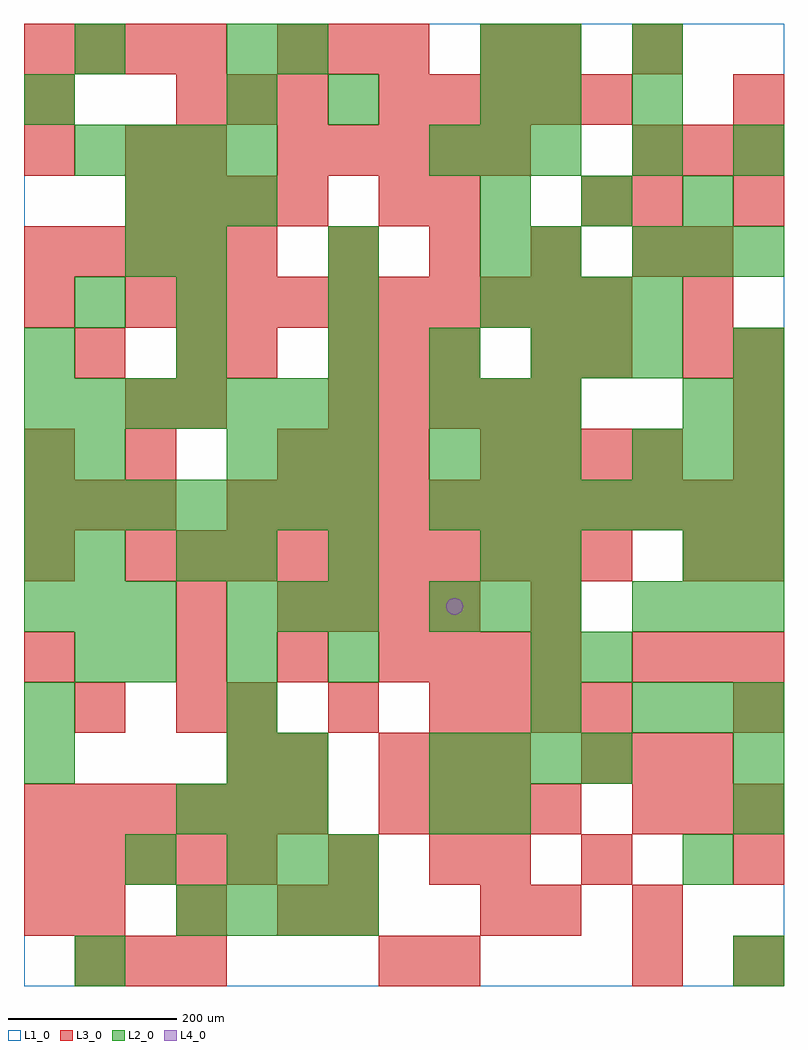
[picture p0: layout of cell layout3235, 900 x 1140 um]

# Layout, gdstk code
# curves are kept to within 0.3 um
import gdstk
lib = gdstk.Library(unit=1e-6, precision=1e-09)
def R(c, l, rs):  # rectangles x0, y0, x1, y1
    for r in rs: c.add(gdstk.rectangle(r[:2], r[2:], *l))
def A(c, l, x, y, w, h, nx, ny, dx, dy):  # array of equal rectangles
    R(c, l, [(x+i*dx, y+j*dy, x+i*dx+w, y+j*dy+h) for i in range(nx) for j in range(ny)])
def P(c, l, *ps):  # polygons
    for p in ps: c.add(gdstk.Polygon(p, *l))
L1_0 = (1, 0)
L2_0 = (2, 0)
L3_0 = (3, 0)
L4_0 = (4, 0)

layout3235 = lib.new_cell('layout3235')
R(layout3235, L1_0, [(0,0,900,1140)])
A(layout3235, L2_0, 180, 60, 60, 60, 4, 1, 60, 0)
A(layout3235, L2_0, 240, 120, 60, 60, 3, 2, 60, 300)
A(layout3235, L2_0, 180, 180, 60, 60, 3, 1, 60, 0)
A(layout3235, L2_0, 480, 240, 60, 60, 4, 1, 60, 0)
A(layout3235, L2_0, 720, 300, 60, 60, 3, 2, 60, 120)
A(layout3235, L2_0, 60, 360, 60, 60, 1, 3, 0, 120)
A(layout3235, L2_0, 120, 360, 60, 60, 3, 1, 120, 0)
A(layout3235, L2_0, 0, 420, 60, 60, 3, 1, 60, 0)
A(layout3235, L2_0, 480, 420, 60, 60, 3, 2, 60, 180)
A(layout3235, L2_0, 0, 540, 60, 60, 7, 2, 60, 120)
A(layout3235, L2_0, 480, 540, 60, 60, 7, 1, 60, 0)
A(layout3235, L2_0, 240, 600, 60, 60, 3, 1, 60, 0)
A(layout3235, L2_0, 720, 600, 60, 60, 3, 2, 60, 240)
A(layout3235, L2_0, 480, 660, 60, 60, 3, 2, 60, 300)
A(layout3235, L2_0, 0, 720, 60, 60, 3, 1, 180, 0)
A(layout3235, L2_0, 600, 720, 60, 60, 3, 2, 60, 60)
A(layout3235, L2_0, 180, 780, 60, 60, 3, 2, 180, 60)
A(layout3235, L2_0, 120, 900, 60, 60, 3, 1, 60, 0)
A(layout3235, L2_0, 540, 900, 60, 60, 3, 1, 120, 0)
A(layout3235, L2_0, 60, 960, 60, 60, 4, 1, 60, 0)
A(layout3235, L2_0, 720, 960, 60, 60, 1, 3, 0, 60)
R(layout3235, L2_0, [(60,0,120,60), (840,0,900,60), (120,120,180,180), (780,120,840,180), (480,180,540,240), (540,180,600,240), (840,180,900,240), (0,240,60,300), (240,240,300,300), (300,240,360,300), (840,240,900,300), (0,300,60,360), (240,300,300,360), (600,300,660,360), (600,360,660,420), (660,360,720,420), (0,480,60,540), (180,480,240,540), (240,480,300,540), (360,480,420,540), (540,480,600,540), (600,480,660,540), (780,480,840,540), (840,480,900,540), (0,600,60,660), (780,660,840,720), (840,660,900,720), (480,720,540,780), (840,720,900,780), (60,780,120,840), (120,840,180,900), (600,840,660,900), (840,960,900,1020), (0,1020,60,1080), (240,1020,300,1080), (360,1020,420,1080), (540,1020,600,1080), (600,1020,660,1080), (60,1080,120,1140), (240,1080,300,1140), (300,1080,360,1140), (540,1080,600,1140), (600,1080,660,1140)])
A(layout3235, L3_0, 60, 0, 60, 60, 3, 1, 60, 0)
A(layout3235, L3_0, 60, 60, 60, 60, 3, 1, 120, 0)
A(layout3235, L3_0, 0, 120, 60, 60, 5, 2, 60, 720)
A(layout3235, L3_0, 840, 120, 60, 60, 1, 3, 0, 180)
A(layout3235, L3_0, 0, 180, 60, 60, 6, 1, 60, 0)
A(layout3235, L3_0, 420, 180, 60, 60, 4, 1, 60, 0)
A(layout3235, L3_0, 720, 180, 60, 60, 3, 2, 60, 180)
A(layout3235, L3_0, 420, 240, 60, 60, 3, 1, 60, 0)
A(layout3235, L3_0, 660, 240, 60, 60, 3, 1, 60, 0)
A(layout3235, L3_0, 240, 300, 60, 60, 3, 1, 120, 0)
A(layout3235, L3_0, 540, 300, 60, 60, 3, 1, 60, 0)
A(layout3235, L3_0, 0, 360, 60, 60, 1, 3, 0, 120)
A(layout3235, L3_0, 180, 360, 60, 60, 3, 1, 120, 0)
A(layout3235, L3_0, 480, 360, 60, 60, 3, 1, 60, 0)
A(layout3235, L3_0, 300, 420, 60, 60, 4, 1, 60, 0)
A(layout3235, L3_0, 120, 480, 60, 60, 10, 2, 60, 300)
A(layout3235, L3_0, 0, 540, 60, 60, 3, 1, 60, 0)
A(layout3235, L3_0, 240, 540, 60, 60, 11, 1, 60, 0)
A(layout3235, L3_0, 300, 600, 60, 60, 3, 2, 60, 480)
A(layout3235, L3_0, 540, 600, 60, 60, 4, 1, 60, 0)
A(layout3235, L3_0, 840, 600, 60, 60, 1, 3, 0, 60)
A(layout3235, L3_0, 360, 660, 60, 60, 5, 1, 60, 0)
A(layout3235, L3_0, 360, 720, 60, 60, 3, 1, 60, 0)
A(layout3235, L3_0, 780, 720, 60, 60, 1, 3, 0, 60)
A(layout3235, L3_0, 360, 840, 60, 60, 4, 1, 120, 0)
A(layout3235, L3_0, 120, 900, 60, 60, 4, 1, 60, 0)
A(layout3235, L3_0, 300, 960, 60, 60, 5, 1, 60, 0)
A(layout3235, L3_0, 720, 960, 60, 60, 3, 1, 60, 0)
A(layout3235, L3_0, 180, 1020, 60, 60, 3, 1, 60, 0)
A(layout3235, L3_0, 420, 1020, 60, 60, 5, 1, 60, 0)
A(layout3235, L3_0, 0, 1080, 60, 60, 4, 1, 60, 0)
R(layout3235, L3_0, [(420,0,480,60), (480,0,540,60), (720,0,780,60), (840,0,900,60), (0,60,60,120), (360,60,420,120), (540,60,600,120), (600,60,660,120), (720,60,780,120), (360,120,420,180), (480,120,540,180), (540,120,600,180), (660,120,720,180), (240,240,300,300), (300,240,360,300), (60,300,120,360), (180,300,240,360), (180,420,240,480), (600,420,660,480), (780,480,840,540), (120,600,180,660), (120,660,180,720), (180,660,240,720), (60,720,120,780), (180,720,240,780), (240,720,300,780), (600,720,660,780), (660,720,720,780), (0,780,60,840), (420,900,480,960), (480,900,540,960), (660,900,720,960), (720,900,780,960), (840,900,900,960), (0,960,60,1020), (120,960,180,1020), (180,960,240,1020), (0,1020,60,1080), (840,1020,900,1080), (540,1080,600,1140), (600,1080,660,1140), (720,1080,780,1140)])
P(layout3235, L4_0, [(520,450),(519.239,453.827),(517.071,457.071),(513.827,459.239),(510,460),(506.173,459.239),(502.929,457.071),(500.761,453.827),(500,450),(500.761,446.173),(502.929,442.929),(506.173,440.761),(510,440),(513.827,440.761),(517.071,442.929),(519.239,446.173)])

lib.write_gds('layout3235.gds')
